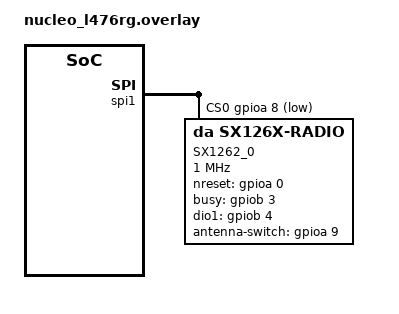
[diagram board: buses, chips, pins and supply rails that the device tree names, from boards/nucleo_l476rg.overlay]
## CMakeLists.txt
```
cmake_minimum_required(VERSION 3.20.0)

# Register your modules
list(APPEND ZEPHYR_EXTRA_MODULES
    ${CMAKE_CURRENT_SOURCE_DIR}/libraries/osal
    ${CMAKE_CURRENT_SOURCE_DIR}/libraries/danp
    ${CMAKE_CURRENT_SOURCE_DIR}/libraries/danp_ftp
    ${CMAKE_CURRENT_SOURCE_DIR}/libraries/danp_zephyr_support
    ${CMAKE_CURRENT_SOURCE_DIR}/libraries/zephyr_radio
    ${CMAKE_CURRENT_SOURCE_DIR}/libraries/zephyr_tmtc
    ${CMAKE_CURRENT_SOURCE_DIR}/libraries/cfl
    ${CMAKE_CURRENT_SOURCE_DIR}/libraries/cfl_zephyr_support
)

find_package(Zephyr REQUIRED HINTS $ENV{ZEPHYR_BASE})
project(danp_demo)

option(SERVER_MODE "Build the application in server mode" OFF)
option(DGRAM_MODE "Build the application in datagram mode" OFF)

set(SOURCES
    src/main.c
    src/tmtc.c
)

set(INCLUDE_DIRS
    include
)

# set(DEPS)

target_sources(app PRIVATE ${SOURCES})
target_include_directories(app PRIVATE ${INCLUDE_DIRS})
target_compile_definitions(app PRIVATE
    $<$<BOOL:${SERVER_MODE}>:SERVER_MODE>
    $<$<BOOL:${DGRAM_MODE}>:DGRAM_MODE>
)
# target_link_libraries(app PRIVATE ${DEPS})
```

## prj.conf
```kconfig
CONFIG_INIT_STACKS=y
CONFIG_HW_STACK_PROTECTION=y
CONFIG_GPIO=y
CONFIG_SPI=y

# -------------------------
# Logging (through shell)
# -------------------------
CONFIG_LOG=y
CONFIG_LOG_MODE_IMMEDIATE=y
CONFIG_LOG_BACKEND_UART=n
CONFIG_SHELL_LOG_BACKEND=y
CONFIG_LOG_CMDS=y
CONFIG_LOG_ALWAYS_RUNTIME=y
CONFIG_LOG_INFO_COLOR_GREEN=y
CONFIG_LOG_DBG_COLOR_BLUE=y

# -------------------------
# Shell
# -------------------------
CONFIG_SHELL=y
CONFIG_SHELL_BACKEND_SERIAL=y
CONFIG_SHELL_VT100_COMMANDS=y
CONFIG_SHELL_VT100_COLORS=y
CONFIG_GPIO_SHELL=y

# -------------------------
# Console / printk
# (disable to avoid fighting shell/log output)
# -------------------------
CONFIG_CONSOLE=n
CONFIG_UART_CONSOLE=n
CONFIG_PRINTK=y

# -------------------------
# Debug / system
# -------------------------
CONFIG_ARM_MPU=y
CONFIG_THREAD_CUSTOM_DATA=y
CONFIG_THREAD_MONITOR=y
CONFIG_HEAP_MEM_POOL_SIZE=32768
CONFIG_DEVICE_DT_METADATA=y
CONFIG_DEBUG_OPTIMIZATIONS=y

# -------------------------
# Your app
# -------------------------
CONFIG_RADIO_CTRL=y
CONFIG_RADIO_CTRL_SX1262=y
CONFIG_MAIN_STACK_SIZE=4096
CONFIG_IDLE_STACK_SIZE=1024
CONFIG_SHELL_STACK_SIZE=4096
CONFIG_EVENTS=y

CONFIG_SYSTEM_WORKQUEUE_STACK_SIZE=4096

CONFIG_DANP=y
CONFIG_DANP_LOG_LEVEL=4
CONFIG_DANP_SUPPORT=y
CONFIG_DANP_FTP=y
CONFIG_DANP_FTP_LOG_LEVEL=4
CONFIG_TMTC=y
CONFIG_TMTC_LOG_LEVEL=4
CONFIG_CFL=y
CONFIG_CFL_LOG_LEVEL=4
CONFIG_CFL_SUPPORT=y

CONFIG_LOG_FUNC_NAME_PREFIX_DBG=n
```

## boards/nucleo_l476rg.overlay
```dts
#include <zephyr/dt-bindings/spi/spi.h>
#include <zephyr/dt-bindings/gpio/gpio.h>

/ {
    aliases {
        radio0 = &sx1262_0;
    };

};

&spi1 {
    compatible = "st,stm32-spi-fifo", "st,stm32-spi";
    status = "okay";
    cs-gpios = <&gpioa 8 (GPIO_ACTIVE_LOW | GPIO_PULL_UP)>;

    sx1262_0: sx1262@0 {
        compatible = "da,sx126x-radio";
        reg = <0>; // Chip select index
        status = "okay";
        label = "SX1262_0";

        spi-max-frequency = <1000000>;

        nreset-gpios = <&gpioa 0 GPIO_ACTIVE_HIGH>;
        busy-gpios = <&gpiob 3 GPIO_ACTIVE_HIGH>;
        dio1-gpios = <&gpiob 4 GPIO_ACTIVE_HIGH>;
        antenna-switch-gpios = <&gpioa 9 GPIO_ACTIVE_HIGH>;
    };
};
```

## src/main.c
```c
/* main.c - one line definition */

/* All Rights Reserved */

/* Includes */

#include <zephyr/drivers/gpio.h>
#include <zephyr/drivers/radio_ctrl.h>
#include <zephyr/kernel.h>
#include <zephyr/logging/log.h>
#include <zephyr/sys/printk.h>

#include "cfl/services/cfl_service_danp.h"
#include "danp/drivers/danp_z_radio.h"
#include "danp/danp.h"
#include "danp/danp_log.h"
#include "danp/services/danp_ftp_service.h"

#include "common_definitions.h"

/* Imports */


/* Definitions */

LOG_MODULE_REGISTER(main, LOG_LEVEL_INF);

/* The devicetree node identifier for the "led0" alias. */
#define LED0_NODE DT_ALIAS(led0)

#define FREQ_EU_868_HZ (868300000)
#define SYNC_WORD_PUBLIC (0x34)
#define SYNC_WORD_PRIVATE (0x12)
#define SYNC_WORD_NO_RADIO (0x21)

/* Types */


/* Forward Declarations */


/* Variables */

static const char route_table[] = "10:radio0, 20:radio0";
static const struct device *const radio = DEVICE_DT_GET(DT_ALIAS(radio0));

static ralf_params_lora_t default_lora_rx_param = {
    .mod_params =
        {
            .sf = RAL_LORA_SF8,
            .bw = RAL_LORA_BW_125_KHZ,
            .cr = RAL_LORA_CR_4_5,
            .ldro = 0, /* to be computed later */
        },
    .pkt_params =
        {
            .preamble_len_in_symb = 8,
            .header_type = RAL_LORA_PKT_EXPLICIT,
            .pld_len_in_bytes = 255,
            .crc_is_on = true,
            .invert_iq_is_on = false,
        },
    .rf_freq_in_hz = FREQ_EU_868_HZ,
    .output_pwr_in_dbm = 14,
    .sync_word = SYNC_WORD_PUBLIC,
    .symb_nb_timeout = 0,
};

static ralf_params_lora_t default_lora_tx_param = {
    .mod_params =
        {
            .sf = RAL_LORA_SF8,
            .bw = RAL_LORA_BW_125_KHZ,
            .cr = RAL_LORA_CR_4_5,
            .ldro = 0, /* to be computed later */
        },
    .pkt_params =
        {
            .preamble_len_in_symb = 8,
            .header_type = RAL_LORA_PKT_EXPLICIT,
            .pld_len_in_bytes = 255,
            .crc_is_on = true,
            .invert_iq_is_on = false,
        },
    .rf_freq_in_hz = FREQ_EU_868_HZ,
    .output_pwr_in_dbm = 14,
    .sync_word = SYNC_WORD_PUBLIC,
    .symb_nb_timeout = 0,
};

static const ralf_params_lora_cad_t default_lora_cad_param = {
    .ral_lora_cad_params =
        {
            .cad_symb_nb = RAL_LORA_CAD_16_SYMB,
            .cad_det_peak_in_symb = 21,
            .cad_det_min_in_symb = 10,
            .cad_exit_mode = RAL_LORA_CAD_ONLY,
            .cad_timeout_in_ms = 0,
        },
    .sf = RAL_LORA_SF8,
    .bw = RAL_LORA_BW_125_KHZ,
    .rf_freq_in_hz = FREQ_EU_868_HZ,
    .invert_iq_is_on = false,
};

static danp_radio_interface_t iface_radio;

/* Functions */

danp_ftp_status_t ftp_fs_open(
    danp_ftp_file_handle_t *file_handle,
    const uint8_t *file_id,
    size_t file_id_len,
    danp_ftp_service_fs_mode_t mode,
    void *user_data)
{
    LOG_INF("FTP FS Open called for file ID: %.*s", file_id_len, file_id);
    return DANP_FTP_STATUS_OK;
}

danp_ftp_status_t ftp_fs_close(
    danp_ftp_file_handle_t file_handle,
    void *user_data)
{
    LOG_INF("FTP FS Close called");
    return DANP_FTP_STATUS_OK;
}

danp_ftp_status_t ftp_fs_read(
    danp_ftp_file_handle_t file_handle,
    size_t offset,
    uint8_t *buffer,
    uint16_t length,
    void *user_data)
{
    LOG_INF("FTP FS Read called: offset=%u, length=%u", offset, length);
    return DANP_FTP_STATUS_OK;
}

danp_ftp_status_t ftp_fs_write(
    danp_ftp_file_handle_t file_handle,
    size_t offset,
    const uint8_t *data,
    uint16_t length,
    void *user_data)
{
    LOG_INF("FTP FS Write called: offset=%u, length=%u", offset, length);
    return DANP_FTP_STATUS_OK;
}

int main(void) {
    int ret = 0;

    if (!device_is_ready(radio)) {
        LOG_ERR("Radio not ready\n");
        return 0;
    }

    default_lora_rx_param.mod_params.ldro = ral_compute_lora_ldro(
        default_lora_rx_param.mod_params.sf, default_lora_rx_param.mod_params.bw);
    default_lora_tx_param.mod_params.ldro = ral_compute_lora_ldro(
        default_lora_tx_param.mod_params.sf, default_lora_tx_param.mod_params.bw);

    ret = danp_radio_init(
        &iface_radio,
        "radio0",
        radio,
        &default_lora_rx_param,
        &default_lora_tx_param,
        &default_lora_cad_param,
        OWN_NODE_ID);
    if (ret < 0)
    {
        LOG_ERR("Failed to initialize DANP radio interface: %d\n", ret);
        return 0;
    }
    danp_register_interface((danp_interface_t *)&iface_radio);

    if (danp_route_table_load(route_table) != 0)
    {
        LOG_ERR("Failed to install route '%s'", route_table);
    }
    else
    {
        LOG_INF("Installed static route: %s", route_table);
    }

    danp_config_t danp_config = {
        .local_node = OWN_NODE_ID,
        .log_function = danp_log_message_impl,
        .log_function_io = danp_log_message_io_impl,
    };
    danp_init(&danp_config);

    danp_ftp_service_config_t danp_ftp_service_config = {
        .fs.open = ftp_fs_open,
        .fs.close = ftp_fs_close,
        .fs.read = ftp_fs_read,
        .fs.write = ftp_fs_write,
        .user_data = NULL,
    };
    ret = danp_ftp_service_init(&danp_ftp_service_config);
    if (ret < 0)
    {
        LOG_ERR("Failed to initialize DANP FTP service: %d\n", ret);
        return 0;
    }

    cfl_service_danp_config_t config = {
        .port_id = CONFIG_CFL_SUPPORT_DANP_SERVICE_PORT,
    };

    ret = cfl_service_danp_init(&config);
    if (ret != 0) {
        LOG_ERR("Failed to initialize CFL DANP service: %d\n", ret);
        return 0;
    }

    while (1)
    {
        k_sleep(K_MSEC(1000));
    }

    return 0;
}
```

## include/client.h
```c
/* client.h - one line definition */

/* All Rights Reserved */

#ifndef INC_CLIENT_H
#define INC_CLIENT_H

/* Includes */

#include <stdint.h>

#ifdef __cplusplus
extern "C" {
#endif


/* Configurations */


/* Definitions */


/* Types */


/* External Declarations */

extern int32_t client_init(void);

#ifdef __cplusplus
}
#endif

#endif /* INC_CLIENT_H */
```

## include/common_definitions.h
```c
/* network_definitions.h - one line definition */

/* All Rights Reserved */

#ifndef INC_NETWORK_DEFINITION_H
#define INC_NETWORK_DEFINITION_H

/* Includes */


#ifdef __cplusplus
extern "C" {
#endif


/* Configurations */


/* Definitions */

#define STACK_SIZE            (4 * 1024)
#define PRIORITY              (7)
#define SERVER_STREAM_PORT    (10)
#define SERVER_DGRAM_PORT     (11)
#define SOCK_TIMEOUT          (1000)

#define CLIENT_NODE_ID           20
#define SERVER_NODE_ID           10

#if SERVER_MODE == 1
#define OWN_NODE_ID SERVER_NODE_ID
#define REMOTE_NODE_ID CLIENT_NODE_ID
#else
#define OWN_NODE_ID CLIENT_NODE_ID
#define REMOTE_NODE_ID SERVER_NODE_ID
#endif

/* Types */


/* External Declarations */


#ifdef __cplusplus
}
#endif

#endif /* INC_NETWORK_DEFINITION_H */
```

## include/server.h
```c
/* server.h - one line definition */

/* All Rights Reserved */

#ifndef INC_SERVER_H
#define INC_SERVER_H

/* Includes */

#include <stdint.h> 

#ifdef __cplusplus
extern "C" {
#endif


/* Configurations */


/* Definitions */


/* Types */


/* External Declarations */

extern int32_t server_init(void);

#ifdef __cplusplus
}
#endif

#endif /* INC_SERVER_H */
```

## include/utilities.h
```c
/* utilities.h - one line definition */

/* All Rights Reserved */

#ifndef INC_UTILITIES_H
#define INC_UTILITIES_H

/* Includes */

#include <stdio.h>
#include <stdarg.h>
#include "danp/danp.h"

#ifdef __cplusplus
extern "C" {
#endif


/* Configurations */


/* Definitions */


/* Types */


/* External Declarations */

extern void danp_log_message_impl(
    danp_log_level_t level,
    const char *funcName,
    const char *message,
    va_list args);

extern int32_t transaction(
    uint16_t id,
    uint16_t dPort,
    uint8_t *data,
    size_t dataLen,
    uint8_t *responseBuffer,
    size_t responseBufferLen,
    size_t *responseLen,
    uint32_t timeout);


#ifdef __cplusplus
}
#endif

#endif /* INC_UTILITIES_H */
```

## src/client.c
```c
/* client.c - one line definition */

/* All Rights Reserved */

/* Includes */

#include <zephyr/kernel.h>
#include <zephyr/drivers/gpio.h>
#include <zephyr/logging/log.h>

#include "danp/danp.h"
#include "common_definitions.h"
#include "client.h"

/* Imports */


/* Definitions */

LOG_MODULE_REGISTER(client, LOG_LEVEL_DBG);

#if DGRAM_MODE == 0
#define CLIENT_SOCKET_TYPE DANP_TYPE_STREAM
#define CLIENT_SOCKET_PORT   SERVER_STREAM_PORT
#endif /* DGRAM_MODE == 0 */

#if DGRAM_MODE == 1
#define CLIENT_SOCKET_TYPE DANP_TYPE_DGRAM
#define CLIENT_SOCKET_PORT   SERVER_DGRAM_PORT
#endif /* DGRAM_MODE == 1 */


/* Types */


/* Forward Declarations */


/* Variables */

K_THREAD_STACK_DEFINE(client_stack, STACK_SIZE);
struct k_thread client_data;

/* Functions */

void client_thread(void *p1, void *p2, void *p3)
{
    danp_socket_t *sock;
    int32_t ret;
    char msg[32]; // Changed from char *msg[32] to char msg[32]
    uint32_t msgCount = 0;
    uint8_t buffer[DANP_MAX_PACKET_SIZE];
    int32_t received;

    // Give server time to start
    k_sleep(K_SECONDS(1));

    LOG_INF("Starting...");

    while (1) {
        sock = danp_socket(CLIENT_SOCKET_TYPE);
        if (!sock) {
            LOG_ERR("Failed to create socket");
            k_sleep(K_SECONDS(1));
            continue;
        }

        LOG_INF("Connecting to server...");
        ret = danp_connect(sock, REMOTE_NODE_ID, CLIENT_SOCKET_PORT);
        if (ret == 0) {
            LOG_INF("Connected");

            sprintf(msg, "Message %d from client", msgCount++); // Fixed type mismatch
            LOG_INF("Sending '%s'", msg); // Fixed type mismatch
            danp_send(sock, msg, strlen(msg)); // Fixed type mismatch

            received = danp_recv(sock, buffer, sizeof(buffer), 1000);
            if (received > 0) {
                buffer[received] = '\0';
                LOG_INF("Received echo '%s'", buffer);
            } else {
                LOG_ERR("Receive timeout or error");
            }

            danp_close(sock);
        } else {
            LOG_ERR("Failed to connect");
            danp_close(sock);
        }

        k_sleep(K_SECONDS(5));
    }
}

int32_t client_init(void)
{
    int32_t status = 0;

    for (;;)
    {
        k_thread_create(&client_data, client_stack, K_THREAD_STACK_SIZEOF(client_stack),
                client_thread, NULL, NULL, NULL,
                PRIORITY, 0, K_NO_WAIT);

        break;
    }

    return status;
}
```

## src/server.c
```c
/* server.c - one line definition */

/* All Rights Reserved */

/* Includes */

#include <zephyr/kernel.h>
#include <zephyr/drivers/gpio.h>
#include <zephyr/logging/log.h>

#include "danp/danp.h"
#include "common_definitions.h"
#include "server.h"

/* Imports */


/* Definitions */

LOG_MODULE_REGISTER(server, LOG_LEVEL_DBG);

#define SERVER_TIMEOUT_MS  8000

/* Types */

typedef struct {
    danp_socket_t *serverSock;
    danp_socket_t *clientSock;
    int32_t ret;
    uint8_t buffer[DANP_MAX_PACKET_SIZE];
    int32_t received;
    char hexMsg[DANP_MAX_PACKET_SIZE * 2 + 1];
} serverRamData_t;

/* Forward Declarations */


/* Variables */

#if DGRAM_MODE == 0
K_THREAD_STACK_DEFINE(server_stream_stack, STACK_SIZE);
static struct k_thread server_stream_data;
#endif /* DGRAM_MODE == 0 */

#if DGRAM_MODE == 1
K_THREAD_STACK_DEFINE(server_dgram_stack, STACK_SIZE);
static struct k_thread server_dgram_data;
#endif /* DGRAM_MODE == 1 */

#if DGRAM_MODE == 0
static serverRamData_t serverStreamRamData;
#endif /* DGRAM_MODE == 0 */

#if DGRAM_MODE == 1
static serverRamData_t serverDgramRamData;
#endif /* DGRAM_MODE == 1 */

/* Functions */

#if DGRAM_MODE == 0
void server_stream_thread(void *p1, void *p2, void *p3)
{
    serverRamData_t *ramData = (serverRamData_t *)p1;

    ramData->serverSock = danp_socket(DANP_TYPE_STREAM);
    if (!ramData->serverSock)
    {
        LOG_ERR("Failed to create socket");
        return;
    }

    ramData->ret = danp_bind(ramData->serverSock, SERVER_STREAM_PORT);
    if (ramData->ret < 0)
    {
        LOG_ERR("Failed to bind socket");
        return;
    }

    ramData->ret = danp_listen(ramData->serverSock, 1);
    if (ramData->ret < 0)
    {
        LOG_ERR("Failed to listen on socket");
        return;
    }

    LOG_INF("STREAM server listening on port %d for echo", SERVER_STREAM_PORT);

    while (1)
    {
        LOG_INF("Waiting for connection...");
        ramData->clientSock = danp_accept(ramData->serverSock, SERVER_TIMEOUT_MS);
        if (ramData->clientSock)
        {
            LOG_INF("Client connected");

            while((ramData->received = danp_recv(ramData->clientSock, ramData->buffer, sizeof(ramData->buffer), SOCK_TIMEOUT)) > 0)
            {
                // Convert received data to hex string for logging
                for (int i = 0; i < ramData->received; i++) {
                    sprintf(&ramData->hexMsg[i * 2], "%02X", ramData->buffer[i]);
                }
                ramData->hexMsg[ramData->received * 2] = '\0';

                LOG_INF("Received %d bytes: %s", ramData->received, ramData->hexMsg);
                // Echo back the received data
                danp_send(ramData->clientSock, ramData->buffer, ramData->received);
                LOG_INF("Echoed back %d bytes", ramData->received);
            }
            LOG_INF("Client disconnected or recv error");
            danp_close(ramData->clientSock);
        }
    }
}
#endif /* DGRAM_MODE == 0 */

#if DGRAM_MODE == 1
void server_dgram_thread(void *p1, void *p2, void *p3)
{
    serverRamData_t *ramData = (serverRamData_t *)p1;
    uint16_t dstNode;
    uint16_t dstPort;

    ramData->serverSock = danp_socket(DANP_TYPE_DGRAM);
    if (!ramData->serverSock)
    {
        LOG_ERR("Failed to create socket");
        return;
    }

    ramData->ret = danp_bind(ramData->serverSock, SERVER_DGRAM_PORT);
    if (ramData->ret < 0)
    {
        LOG_ERR("Failed to bind socket");
        return;
    }

    LOG_INF("DGRAM server listening on port %d for echo", SERVER_DGRAM_PORT);

    while (1)
    {
        LOG_INF("Waiting for datagram...");
        ramData->received = danp_recv_from(
            ramData->serverSock,
            ramData->buffer,
            sizeof(ramData->buffer),
            &dstNode,
            &dstPort,
            SERVER_TIMEOUT_MS);
        if (ramData->received >= 0)
        {
            LOG_INF("Received %d bytes from client", ramData->received);
            // Echo back the received data
            danp_send_to(ramData->serverSock, ramData->buffer, ramData->received, dstNode, dstPort);
            LOG_INF("Echoed back %d bytes", ramData->received);
        }
    }
}
#endif /* DGRAM_MODE == 1 */

int32_t server_init(void)
{
    int32_t status = 0;
    k_tid_t server_tid;

    for (;;)
    {
#if DGRAM_MODE == 0
        server_tid = k_thread_create(&server_stream_data, server_stream_stack, K_THREAD_STACK_SIZEOF(server_stream_stack),
                                     server_stream_thread, &serverStreamRamData, NULL, NULL,
                                     PRIORITY, 0, K_NO_WAIT);
        if (!server_tid)
        {
            status = -1; // Thread creation failed
            break;
        }
#endif /* DGRAM_MODE == 0 */

#if DGRAM_MODE == 1
        server_tid = k_thread_create(&server_dgram_data, server_dgram_stack, K_THREAD_STACK_SIZEOF(server_dgram_stack),
                                     server_dgram_thread, &serverDgramRamData, NULL, NULL,
                                     PRIORITY, 0, K_NO_WAIT);
        if (!server_tid)
        {
            status = -1; // Thread creation failed
            break;
        }
#endif /* DGRAM_MODE == 1 */

        break;
    }

    return status;
}
```

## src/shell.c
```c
/* cli.c - one line definition */

/* All Rights Reserved */

/* Includes */

#include <stdlib.h>
#include <zephyr/shell/shell.h>
#include <zephyr/kernel.h>
#include <zephyr/logging/log.h>
#include "danp/danp.h"
#include "utilities.h"

/* Imports */


/* Definitions */

LOG_MODULE_DECLARE(danp);

/* Types */


/* Forward Declarations */

static int danp_transaction(const struct shell *shell, size_t argc, char **argv);
static int danp_test(const struct shell *shell, size_t argc, char **argv);
static int danp_stats(const struct shell *shell, size_t argc, char **argv);

/* Variables */

/* Shell Commands */

SHELL_STATIC_SUBCMD_SET_CREATE(sub_danp_cmds,
    SHELL_CMD(
        transaction,
        NULL,
        "Send/receive message\nUsage: danp transaction <id> <dPort> [<dataHex>] [<timeout>]",
        danp_transaction
    ),
    SHELL_CMD(
        test,
        NULL,
        "Run DANP test (not implemented yet)\nUsage: danp test <dgram|stream> <count> <size> <id> <dPort> <interval>",
        danp_test
    ),
    SHELL_CMD(
        stats,
        NULL,
        "Print DANP statistics",
        danp_stats
    ),
    SHELL_SUBCMD_SET_END
);

SHELL_CMD_REGISTER(danp, &sub_danp_cmds, "Base command for DANP operations", NULL);

/* Functions */

static void danp_print_func(const char *fmt, ...) {
    va_list args;
    va_start(args, fmt);
    vprintf(fmt, args);
    va_end(args);
}

static int danp_transaction(const struct shell *shell, size_t argc, char **argv) {
    if (argc < 2) {
        shell_print(shell, "Usage: danp transaction <id> <dPort> [<dataHex>] [<timeout>]");
        return -EINVAL;
    }

    int32_t ret;
    uint8_t buffer[DANP_MAX_PACKET_SIZE];
    int32_t received = 0;
    uint16_t id = (uint16_t)atoi(argv[1]);
    uint16_t dPort = (uint16_t)atoi(argv[2]);
    uint8_t data[DANP_MAX_PACKET_SIZE];
    size_t dataLen = 0;

    // Parse data if provided
    if (argc >= 4) {
        const char *dataHex = argv[3];
        dataLen = strlen(dataHex) / 2;
        for (size_t i = 0; i < dataLen; i++) {
            sscanf(&dataHex[i * 2], "%2hhx", &data[i]);
        }
    }

    ret = transaction(
        id,
        dPort,
        data,
        dataLen,
        buffer,
        sizeof(buffer),
        (size_t *)&received,
        2000);
    if (ret == 0) {
        LOG_INF("Transaction successful, received %d bytes:", received);
        LOG_HEXDUMP_INF(buffer, received, "Received data");
    } else {
        LOG_ERR("Transaction failed with error code: %d", ret);
    }

    return 0;
}

static int danp_test(const struct shell *shell, size_t argc, char **argv)
{
    int ret = 0;
    if (argc < 7) {
        shell_print(shell, "Usage: danp test <dgram|stream> <count> <size> <id> <dPort> <interval>");
        return -EINVAL;
    }

    const char *type = argv[1];
    int count = atoi(argv[2]);
    int size = atoi(argv[3]);
    uint16_t id = (uint16_t)atoi(argv[4]);
    uint16_t dPort = (uint16_t)atoi(argv[5]);
    int interval = atoi(argv[6]);
    danp_socket_t *sock = NULL;
    uint8_t *tx_buf = NULL;
    uint8_t *rx_buf = NULL;

    for (;;)
    {
        // Safety check for packet size vs buffer size
        if (size > DANP_MAX_PACKET_SIZE) {
            shell_error(shell, "Size %d exceeds max packet size", size);
            ret = -EINVAL;
            break;
        }

        shell_print(shell, "Running DANP test: type=%s, count=%d, size=%d, id=%u, dPort=%u",
                    type,
                    count,
                    size,
                    id,
                    dPort);

        if (strcmp(type, "dgram") == 0) {
            sock = danp_socket(DANP_TYPE_DGRAM);
        } else if (strcmp(type, "stream") == 0) {
            sock = danp_socket(DANP_TYPE_STREAM);
        } else {
            shell_error(shell, "Invalid type");
            ret = -EINVAL;
            break;
        }
        if (!sock) {
            shell_error(shell, "Failed to create socket");
            ret = -ENOMEM;
            break;
        }

        int ret = danp_connect(sock, id, dPort);
        if (ret < 0) {
            shell_error(shell, "Failed to connect socket");
            ret = -ECONNREFUSED;
            break;
        }

        tx_buf = k_malloc(DANP_MAX_PACKET_SIZE);
        rx_buf = k_malloc(DANP_MAX_PACKET_SIZE);

        if (!tx_buf || !rx_buf) {
            ret = -ENOMEM;
            break;
        }

        for (int j = 0; j < size; j++) {
            tx_buf[j] = (uint8_t)(j & 0xFF);
        }

        for (int i = 0; i < count; i++) {
            // Check for abort (allows user to Ctrl+C if shell supports it, or system shutdown)
            if (k_is_in_isr()) break;

            shell_print(shell, "Iteration %d/%d", i + 1, count);

            int ret = danp_send(sock, tx_buf, size);
            if (ret < 0) {
                shell_error(shell, "Send failed iter %d", i);
                // Decide: break or continue?
            } else {
                // Only try to receive if send was okay
                ret = danp_recv(sock, rx_buf, DANP_MAX_PACKET_SIZE, 2000);
                if (ret < 0) {
                    shell_warn(shell, "Recv timeout/fail iter %d", i + 1);
                } else {
                    // Verify data
                    if (ret != size || memcmp(tx_buf, rx_buf, size) != 0) {
                        if (ret != size) {
                            shell_error(shell, "Data size mismatch iter %d: sent %d, recv %d", i + 1, size, ret);
                        } else {
                            shell_error(shell, "Data content mismatch iter %d", i + 1);
                        }
                    } else {
                        shell_print(shell, "Iteration %d successful", i + 1);
                    }
                }
            }

            // 4. Use the interval argument
            if (interval > 0) {
                k_sleep(K_MSEC(interval));
            }
        }

        break;
    }

    if (sock)
    {
        danp_close(sock);
    }
    if (tx_buf)
    {
        k_free(tx_buf);
    }
    if (rx_buf)
    {
        k_free(rx_buf);
    }

    shell_print(shell, "Test complete");

    return 0;
}

static int danp_stats(const struct shell *shell, size_t argc, char **argv) {
    danp_print_stats((void (*)(const char *, ...))danp_print_func);
    return 0;
}
```

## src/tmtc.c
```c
/* tmtc.c - one line definition */

/* All Rights Reserved */

/* Includes */

#include <string.h>
#include <zephyr/tmtc.h>
#include <zephyr/logging/log.h>
#include <zephyr/logging/log_instance.h>

/* Imports */


/* Definitions */

LOG_MODULE_DECLARE(main);

LOG_INSTANCE_REGISTER(main, tmtc, LOG_LEVEL_INF);

#undef LOG_ERR
#undef LOG_WRN
#undef LOG_INF
#undef LOG_DBG
#undef LOG_VER

#define LOG_ERR(...) LOG_INSTANCE_ERR(&LOG_INSTANCE_GET(main, tmtc), __VA_ARGS__)
#define LOG_WRN(...) LOG_INSTANCE_WRN(&LOG_INSTANCE_GET(main, tmtc), __VA_ARGS__)
#define LOG_INF(...) LOG_INSTANCE_INF(&LOG_INSTANCE_GET(main, tmtc), __VA_ARGS__)
#define LOG_DBG(...) LOG_INSTANCE_DBG(&LOG_INSTANCE_GET(main, tmtc), __VA_ARGS__)
#define LOG_VER(...) LOG_INSTANCE_VER(&LOG_INSTANCE_GET(main, tmtc), __VA_ARGS__)

/* Types */


/* Forward Declarations */

static int32_t main_tmtc_echo (struct tmtc_args *rqst, struct tmtc_args *rply);

/* Variables */

TMTC_DEFINE(tmtc_example_cmd_handler) =
{
    {
        .id = 1,
        .max_data_len = 256,
        .min_data_len = 0,
        .handler = main_tmtc_echo,
    }
};

/* Functions */

static int32_t main_tmtc_echo (struct tmtc_args *rqst, struct tmtc_args *rply)
{
    int32_t ret = 0;
    uint8_t *rqst_data = NULL;
    size_t rqst_data_len = 0;

    for (;;)
    {
        rqst_data = &rqst->data[rqst->hdr_len];
        rqst_data_len = rqst->len - rqst->hdr_len;

        if (0 == rqst_data_len)
        {
            ret = -ENODATA; // No data to echo
            break;
        }

        if (256 < rqst_data_len)
        {
            ret = -EMSGSIZE; // Data too large
            break;
        }

        rply->len = rply->hdr_len + rqst_data_len;
        rply->data = tmtc_malloc(rply, rply->len);
        if (!rply->data) {
            ret = -1;
            break;
        }
        memset(rply->data, 0, rply->len);

        LOG_HEXDUMP_INF(rqst_data, rqst_data_len, "Echo Data");

        memcpy(&rply->data[rply->hdr_len], rqst_data, rqst_data_len);

        break;
    }

    return ret;
}
```

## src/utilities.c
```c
/* utilities.c - one line definition */

/* All Rights Reserved */

/* Includes */

#include <zephyr/kernel.h>
#include <zephyr/sys/printk.h>
#include <zephyr/logging/log.h>

#include "utilities.h"

/* Imports */


/* Definitions */

LOG_MODULE_REGISTER(danp, CONFIG_DANP_LOG_LEVEL);

/* Types */


/* Forward Declarations */


/* Variables */


/* Functions */

void danp_log_message_impl(
    danp_log_level_t level,
    const char *funcName,
    const char *message,
    va_list args)
{
    char log_buf[256];
    vsnprintf(log_buf, sizeof(log_buf), message, args);

    switch (level) {
    case DANP_LOG_ERROR:
        LOG_ERR("%s", log_buf);
        break;
    case DANP_LOG_WARN:
        LOG_WRN("%s", log_buf);
        break;
    case DANP_LOG_INFO:
        LOG_INF("%s", log_buf);
        break;
    case DANP_LOG_DEBUG:
    case DANP_LOG_VERBOSE:
    default:
        LOG_DBG("%s", log_buf);
        break;
    }

}

int32_t transaction(
    uint16_t id,
    uint16_t dPort,
    uint8_t *data,
    size_t dataLen,
    uint8_t *responseBuffer,
    size_t responseBufferLen,
    size_t *responseLen,
    uint32_t timeout)
{
    int32_t ret = 0;
    danp_socket_t *sock = NULL;
    bool isSockCreated = false;
    int32_t receivedLen;
    int32_t sentLen;

    for (;;)
    {
        sock = danp_socket(DANP_TYPE_STREAM);
        if (!sock) {
            ret = -1; // Socket creation failed
            break;
        }
        isSockCreated = true;

        ret = danp_connect(sock, id, dPort);
        if (ret != 0) {
            ret = -2; // Connection failed
            break;
        }

        sentLen = danp_send(sock, data, dataLen);
        if (sentLen < 0) {
            ret = -3; // Send failed
            break;
        }

        if (responseBuffer == NULL || responseBufferLen == 0 || responseLen == NULL) {
            // No response expected
            ret = 0;
            break;
        }

        receivedLen = danp_recv(sock, responseBuffer, responseBufferLen, timeout);
        if (receivedLen < 0) {
            ret = -4; // Receive failed
            break;
        }

        *responseLen = (size_t)receivedLen;

        break;
    }

    if (isSockCreated && sock) {
        danp_close(sock);
    }

    return ret;
}
```
